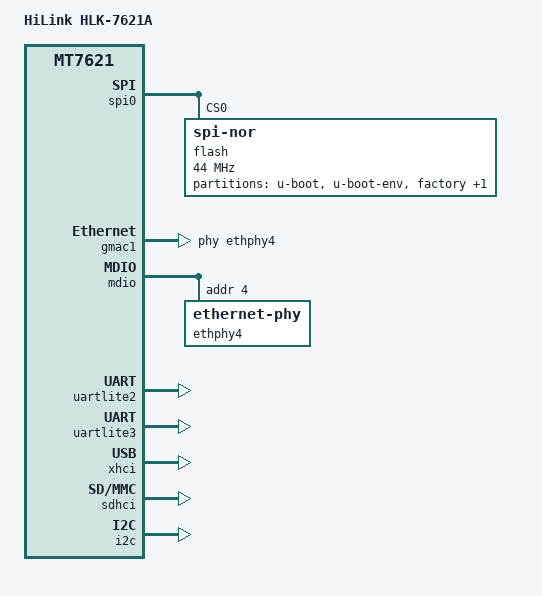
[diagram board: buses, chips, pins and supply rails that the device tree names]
// SPDX-License-Identifier: GPL-2.0-or-later
/dts-v1/;

#include "mt7621.dtsi"

/ {
	compatible = "hilink,hlk-7621a", "mediatek,mt7621-soc";
	model = "HiLink HLK-7621A";

	chosen {
		bootargs = "console=ttyS0,57600";
	};
};

&spi0 {
	status = "okay";

	flash@0 {
		compatible = "jedec,spi-nor";
		reg = <0>;
		spi-max-frequency = <44000000>;

		partitions {
			compatible = "fixed-partitions";
			#address-cells = <1>;
			#size-cells = <1>;

			partition@0 {
				label = "u-boot";
				reg = <0x0 0x30000>;
				read-only;
			};

			partition@30000 {
				label = "u-boot-env";
				reg = <0x30000 0x10000>;
				read-only;
			};

			factory: partition@40000 {
				label = "factory";
				reg = <0x40000 0x10000>;
				read-only;
			};

			partition@50000 {
				compatible = "denx,uimage";
				label = "firmware";
				reg = <0x50000 0x1fb0000>;
			};
		};
	};
};

&switch0 {
	ports {
		port@0 {
			status = "okay";
			label = "lan1";
		};

		port@1 {
			status = "okay";
			label = "lan2";
		};

		port@2 {
			status = "okay";
			label = "lan3";
		};

		port@3 {
			status = "okay";
			label = "lan4";
		};
	};
};

&gmac0 {
	mtd-mac-address = <&factory 0x8004>;
};

&gmac1 {
	status = "okay";
	label = "wan";
	phy-handle = <&ethphy4>;
};

&mdio {
	ethphy4: ethernet-phy@4 {
		reg = <4>;
	};
};

&state_default {
	gpio {
		groups = "rgmii2", "jtag";
		function = "gpio";
	};
};

&uartlite2 {
    status = "okay";
};

&uartlite3 {
    status = "okay";
};

&xhci {
    status = "okay";
};

&sdhci {
    status = "okay";
};

&i2c {
    status = "okay";
};
